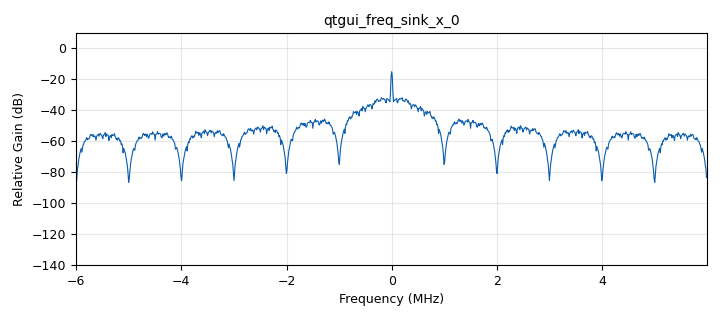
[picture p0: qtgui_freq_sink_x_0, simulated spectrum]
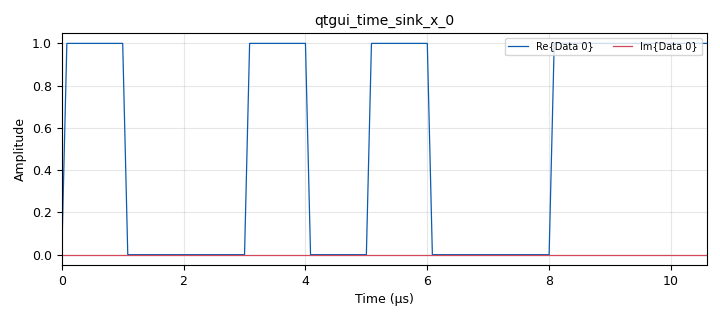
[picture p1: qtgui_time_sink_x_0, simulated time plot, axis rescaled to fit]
options:
  parameters:
    author: Marcelo Doallo
    generate_options: qt_gui
    id: OOK_Tx
    output_language: python
    title: OOK Tx
  states: {}

blocks:
- name: Freq
  id: variable_qtgui_entry
  parameters:
    gui_hint: 0,3,1,1
    label: 'Frec [MHz]:'
    type: real
    value: '50'
  states: {}
- name: IF_Gain
  id: variable_qtgui_range
  parameters:
    gui_hint: 0,0,1,2
    start: '0'
    step: '1'
    stop: '50'
    value: '0'
  states: {}
- name: RF_Gain
  id: variable_qtgui_check_box
  parameters:
    'false': '0'
    gui_hint: 0,2,1,1
    label: RF Gain (13 dB)
    'true': '13'
    type: int
    value: 'False'
  states: {}
- name: bit_rate
  id: variable
  parameters:
    value: '1000000'
  states: {}
- name: samp_rate
  id: variable
  parameters:
    value: bit_rate*sample_per_bit
  states: {}
- name: sample_per_bit
  id: variable
  parameters:
    value: '12'
  states: {}
- name: analog_random_source_x_0
  id: analog_random_source_x
  parameters:
    max: '2'
    min: '0'
    num_samps: '1000'
    repeat: 'True'
    type: byte
  states: {}
- name: blocks_char_to_float_0
  id: blocks_char_to_float
  parameters:
    scale: '1'
  states: {}
- name: blocks_float_to_complex_1
  id: blocks_float_to_complex
  parameters: {}
  states: {}
- name: blocks_repeat_0
  id: blocks_repeat
  parameters:
    interp: sample_per_bit
    type: complex
  states: {}
- name: osmosdr_sink_0
  id: osmosdr_sink
  parameters:
    bb_gain0: '0'
    freq0: Freq*1e6
    gain0: RF_Gain
    if_gain0: IF_Gain
    sample_rate: samp_rate
    sync: pc_clock
    type: fc32
  states: {}
- name: qtgui_freq_sink_x_0
  id: qtgui_freq_sink_x
  parameters:
    average: '0.05'
    bw: samp_rate
    ctrlpanel: 'True'
    fc: '0'
    fftsize: '1024'
    gui_hint: tab@1:0,0,1,1
    type: complex
  states: {}
- name: qtgui_time_sink_x_0
  id: qtgui_time_sink_x
  parameters:
    gui_hint: tab@0:0,0,1,1
    size: '128'
    srate: samp_rate
    tr_mode: qtgui.TRIG_MODE_AUTO
    type: complex
    ymax: '20'
    ymin: '-20'
  states: {}
- name: tab
  id: qtgui_tab_widget
  parameters:
    gui_hint: 1,0,4,4
    label0: Tiempo
    label1: Espectro
    num_tabs: '2'
  states: {}

connections:
- [analog_random_source_x_0, '0', blocks_char_to_float_0, '0']
- [blocks_char_to_float_0, '0', blocks_float_to_complex_1, '0']
- [blocks_float_to_complex_1, '0', blocks_repeat_0, '0']
- [blocks_repeat_0, '0', osmosdr_sink_0, '0']
- [blocks_repeat_0, '0', qtgui_freq_sink_x_0, '0']
- [blocks_repeat_0, '0', qtgui_time_sink_x_0, '0']

metadata:
  file_format: 1
